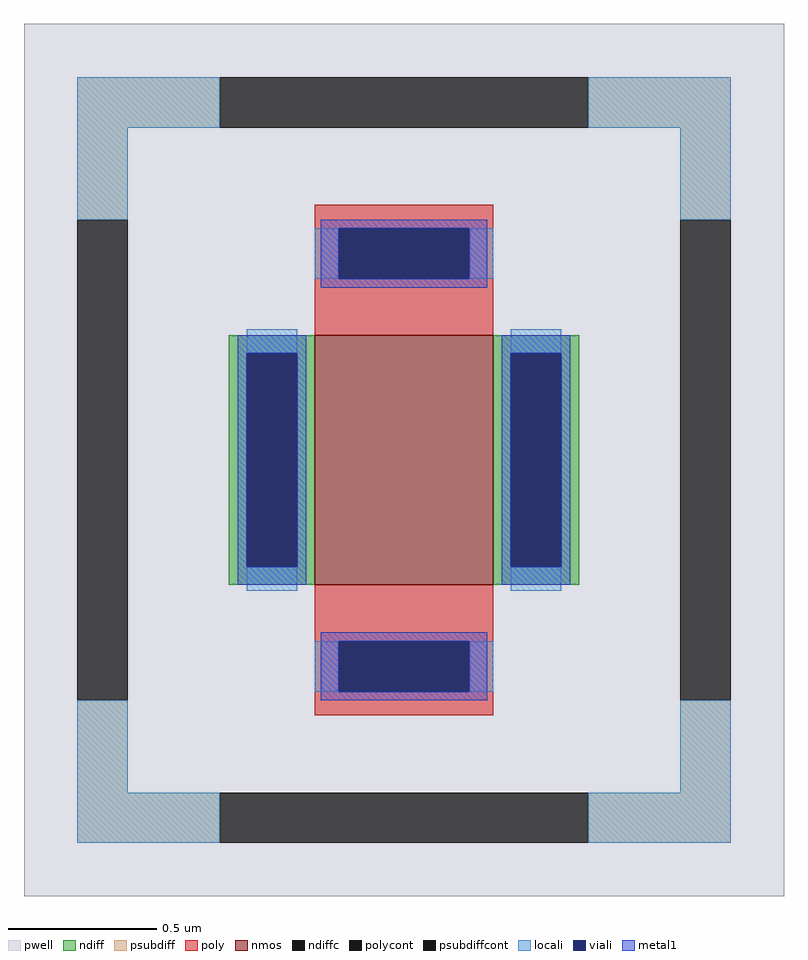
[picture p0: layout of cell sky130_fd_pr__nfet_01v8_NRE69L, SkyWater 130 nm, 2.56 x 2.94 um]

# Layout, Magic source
magic
tech sky130A
<< pwell >>
rect -128 -147 128 147
<< nmos >>
rect -30 -42 30 42
<< ndiff >>
rect -59 36 -30 42
rect -59 -36 -53 36
rect -36 -36 -30 36
rect -59 -42 -30 -36
rect 30 36 59 42
rect 30 -36 36 36
rect 53 -36 59 36
rect 30 -42 59 -36
<< ndiffc >>
rect -53 -36 -36 36
rect 36 -36 53 36
<< psubdiff >>
rect -110 112 -62 129
rect 62 112 110 129
rect -110 81 -93 112
rect 93 81 110 112
rect -110 -112 -93 -81
rect 93 -112 110 -81
rect -110 -129 -62 -112
rect 62 -129 110 -112
<< psubdiffcont >>
rect -62 112 62 129
rect -110 -81 -93 81
rect 93 -81 110 81
rect -62 -129 62 -112
<< poly >>
rect -30 78 30 86
rect -30 61 -22 78
rect 22 61 30 78
rect -30 42 30 61
rect -30 -61 30 -42
rect -30 -78 -22 -61
rect 22 -78 30 -61
rect -30 -86 30 -78
<< polycont >>
rect -22 61 22 78
rect -22 -78 22 -61
<< locali >>
rect -110 112 -62 129
rect 62 112 110 129
rect -110 81 -93 112
rect 93 81 110 112
rect -30 61 -22 78
rect 22 61 30 78
rect -53 36 -36 44
rect -53 -44 -36 -36
rect 36 36 53 44
rect 36 -44 53 -36
rect -30 -78 -22 -61
rect 22 -78 30 -61
rect -110 -112 -93 -81
rect 93 -112 110 -81
rect -110 -129 -62 -112
rect 62 -129 110 -112
<< viali >>
rect -22 61 22 78
rect -53 -36 -36 36
rect 36 -36 53 36
rect -22 -78 22 -61
<< metal1 >>
rect -28 78 28 81
rect -28 61 -22 78
rect 22 61 28 78
rect -28 58 28 61
rect -56 36 -33 42
rect -56 -36 -53 36
rect -36 -36 -33 36
rect -56 -42 -33 -36
rect 33 36 56 42
rect 33 -36 36 36
rect 53 -36 56 36
rect 33 -42 56 -36
rect -28 -61 28 -58
rect -28 -78 -22 -61
rect 22 -78 28 -61
rect -28 -81 28 -78
<< properties >>
string FIXED_BBOX -101 -120 101 120
string gencell sky130_fd_pr__nfet_01v8
string library sky130
string parameters w 0.84 l 0.6 m 1 nf 1 diffcov 100 polycov 100 guard 1 glc 1 grc 1 gtc 1 gbc 1 tbcov 100 rlcov 100 topc 1 botc 1 poverlap 0 doverlap 1 lmin 0.15 wmin 0.42 compatible {sky130_fd_pr__nfet_01v8 sky130_fd_pr__nfet_01v8_lvt  sky130_fd_bs_flash__special_sonosfet_star  sky130_fd_pr__nfet_g5v0d10v5 sky130_fd_pr__nfet_05v0_nvt  sky130_fd_pr__nfet_03v3_nvt} full_metal 1 viasrc 100 viadrn 100 viagate 100 viagb 0 viagr 0 viagl 0 viagt 0
<< end >>
